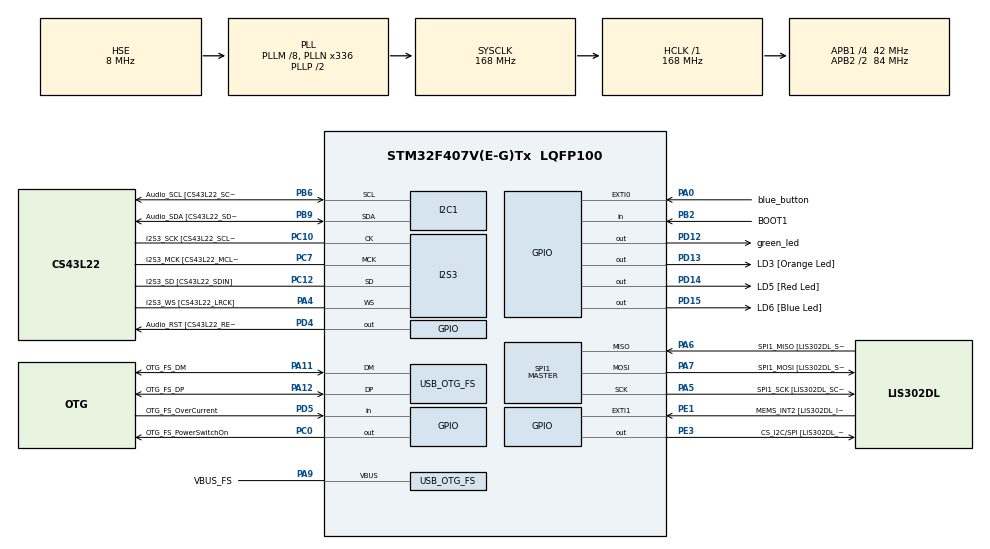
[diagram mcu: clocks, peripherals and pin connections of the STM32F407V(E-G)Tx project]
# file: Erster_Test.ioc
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FREERTOS.Queues01=logQueue,16,40,1,Dynamic,NULL,NULL
FREERTOS.Tasks01=defaultTask,24,128,StartDefaultTask,Default,NULL,Dynamic,NULL,NULL;task1ms,8,128,StartTask02,Default,NULL,Dynamic,NULL,NULL;task10ms,8,128,StartTask03,Default,NULL,Dynamic,NULL,NULL;producer01,8,128,producer01task,Default,NULL,Dynamic,NULL,NULL;consumer01,8,128,consumer01task,Default,NULL,Dynamic,NULL,NULL;producer02,8,128,producer02task,Default,NULL,Dynamic,NULL,NULL;producer03,8,128,producer03task,Default,NULL,Dynamic,NULL,NULL
FREERTOS.Timers01=oneMs,oneMsFunc,osTimerPeriodic,Default,NULL,Dynamic,NULL
I2S3.AudioFreq-Half_Duplex_Master=I2S_AUDIOFREQ_96K
I2S3.ErrorAudioFreq=-2.34 %
I2S3.ErrorAudioFreq-Half_Duplex_Master=0.8 %
I2S3.FullDuplexMode=I2S_FULLDUPLEXMODE_DISABLE
I2S3.Instance=SPI$Index
I2S3.RealAudioFreq=93.75 KHz
I2S3.RealAudioFreq-Half_Duplex_Master=96.774 KHz
I2S3.VirtualMode=I2S_MODE_MASTER
Mcu.Family=STM32F4
Mcu.Name=STM32F407V(E-G)Tx
Mcu.Package=LQFP100
NVIC.OTG_FS_IRQn=true\:5\:0\:false\:false\:true\:true\:true\:true\:true
NVIC.PriorityGroup=NVIC_PRIORITYGROUP_4
PA0-WKUP.GPIO_Label=blue_button
PA0-WKUP.GPIO_ModeDefaultEXTI=GPIO_MODE_EVT_RISING
PA0-WKUP.GPIO_PuPd=GPIO_NOPULL
PA0-WKUP.Signal=GPXTI0
PA10.GPIO_Label=OTG_FS_ID
PA10.GPIO_Mode=GPIO_MODE_AF_PP
PA10.GPIO_PuPd=GPIO_NOPULL
PA10.GPIO_Speed=GPIO_SPEED_FREQ_LOW
PA10.Signal=USB_OTG_FS_ID
PA11.GPIO_Label=OTG_FS_DM
PA11.GPIO_Mode=GPIO_MODE_AF_PP
PA11.GPIO_PuPd=GPIO_NOPULL
PA11.GPIO_Speed=GPIO_SPEED_FREQ_LOW
PA11.Mode=Host_Only
PA11.Signal=USB_OTG_FS_DM
PA12.GPIO_Label=OTG_FS_DP
PA12.GPIO_Mode=GPIO_MODE_AF_PP
PA12.GPIO_PuPd=GPIO_NOPULL
PA12.GPIO_Speed=GPIO_SPEED_FREQ_LOW
PA12.Mode=Host_Only
PA12.Signal=USB_OTG_FS_DP
PA13.GPIO_Label=SWDIO
PA13.Mode=Serial_Wire
PA13.Signal=SYS_JTMS-SWDIO
PA14.GPIO_Label=SWCLK
PA14.Mode=Serial_Wire
PA14.Signal=SYS_JTCK-SWCLK
PA4.GPIO_Label=I2S3_WS [CS43L22_LRCK]
PA4.GPIO_Mode=GPIO_MODE_AF_PP
PA4.GPIO_PuPd=GPIO_NOPULL
PA4.GPIO_Speed=GPIO_SPEED_FREQ_LOW
PA4.Mode=Half_Duplex_Master
PA4.Signal=I2S3_WS
PA5.GPIO_Label=SPI1_SCK [LIS302DL_SCL/SPC]
PA5.GPIO_Mode=GPIO_MODE_AF_PP
PA5.GPIO_PuPd=GPIO_NOPULL
PA5.GPIO_Speed=GPIO_SPEED_FREQ_LOW
PA5.Mode=Full_Duplex_Master
PA5.Signal=SPI1_SCK
PA6.GPIO_Label=SPI1_MISO [LIS302DL_SDO]
PA6.GPIO_Mode=GPIO_MODE_AF_PP
PA6.GPIO_PuPd=GPIO_NOPULL
PA6.GPIO_Speed=GPIO_SPEED_FREQ_LOW
PA6.Mode=Full_Duplex_Master
PA6.Signal=SPI1_MISO
PA7.GPIO_Label=SPI1_MOSI [LIS302DL_SDA/SDI/SDO]
PA7.GPIO_Mode=GPIO_MODE_AF_PP
PA7.GPIO_PuPd=GPIO_NOPULL
PA7.GPIO_Speed=GPIO_SPEED_FREQ_LOW
PA7.Mode=Full_Duplex_Master
PA7.Signal=SPI1_MOSI
PA9.GPIO_Label=VBUS_FS
PA9.GPIO_Mode=GPIO_MODE_INPUT
PA9.GPIO_PuPd=GPIO_NOPULL
PA9.Mode=Activate_VBUS
PA9.Signal=USB_OTG_FS_VBUS
PB10.GPIO_Label=CLK_IN [MP45DT02_CLK]
PB10.GPIO_Mode=GPIO_MODE_AF_PP
PB10.GPIO_PuPd=GPIO_NOPULL
PB10.GPIO_Speed=GPIO_SPEED_FREQ_LOW
PB10.Signal=I2S2_CK
PB2.GPIO_Label=BOOT1
PB2.GPIO_Mode=GPIO_MODE_INPUT
PB2.GPIO_PuPd=GPIO_NOPULL
PB2.Signal=GPIO_Input
PB3.GPIO_Label=SWO
PB3.Signal=SYS_JTDO-SWO
PB6.GPIO_Label=Audio_SCL [CS43L22_SCL]
PB6.GPIO_Mode=GPIO_MODE_AF_OD
PB6.GPIO_Pu=GPIO_PULLUP
PB6.GPIO_PuPd=GPIO_NOPULL
PB6.GPIO_Speed=GPIO_SPEED_FREQ_LOW
PB6.Mode=I2C
PB6.Signal=I2C1_SCL
PB9.GPIO_Label=Audio_SDA [CS43L22_SDA]
PB9.GPIO_Mode=GPIO_MODE_AF_OD
PB9.GPIO_Pu=GPIO_PULLUP
PB9.GPIO_PuPd=GPIO_NOPULL
PB9.GPIO_Speed=GPIO_SPEED_FREQ_LOW
PB9.Mode=I2C
PB9.Signal=I2C1_SDA
PC0.GPIO_Label=OTG_FS_PowerSwitchOn
PC0.GPIO_PuPd=GPIO_NOPULL
PC0.GPIO_Speed=GPIO_SPEED_FREQ_LOW
PC0.PinState=GPIO_PIN_SET
PC0.Signal=GPIO_Output
PC10.GPIO_Label=I2S3_SCK [CS43L22_SCLK]
PC10.GPIO_Mode=GPIO_MODE_AF_PP
PC10.GPIO_PuPd=GPIO_NOPULL
PC10.GPIO_Speed=GPIO_SPEED_FREQ_LOW
PC10.Mode=Half_Duplex_Master
PC10.Signal=I2S3_CK
PC12.GPIO_Label=I2S3_SD [CS43L22_SDIN]
PC12.GPIO_Mode=GPIO_MODE_AF_PP
PC12.GPIO_PuPd=GPIO_NOPULL
PC12.GPIO_Speed=GPIO_SPEED_FREQ_LOW
PC12.Mode=Half_Duplex_Master
PC12.Signal=I2S3_SD
PC14-OSC32_IN.GPIO_Label=PC14-OSC32_IN
PC14-OSC32_IN.Mode=LSE-External-Oscillator
PC14-OSC32_IN.Signal=RCC_OSC32_IN
PC15-OSC32_OUT.GPIO_Label=PC15-OSC32_OUT
PC15-OSC32_OUT.Mode=LSE-External-Oscillator
PC15-OSC32_OUT.Signal=RCC_OSC32_OUT
PC3.GPIO_Label=PDM_OUT [MP45DT02_DOUT]
PC3.GPIO_Mode=GPIO_MODE_AF_PP
PC3.GPIO_PuPd=GPIO_NOPULL
PC3.GPIO_Speed=GPIO_SPEED_FREQ_LOW
PC3.Signal=I2S2_SD
PC7.GPIO_Label=I2S3_MCK [CS43L22_MCLK]
PC7.GPIO_Mode=GPIO_MODE_AF_PP
PC7.GPIO_PuPd=GPIO_NOPULL
PC7.GPIO_Speed=GPIO_SPEED_FREQ_LOW
PC7.Mode=Master_Clock_Activated
PC7.Signal=I2S3_MCK
PD12.GPIO_Label=green_led
PD12.GPIO_PuPd=GPIO_NOPULL
PD12.GPIO_Speed=GPIO_SPEED_FREQ_LOW
PD12.Signal=GPIO_Output
PD13.GPIO_Label=LD3 [Orange Led]
PD13.GPIO_PuPd=GPIO_NOPULL
PD13.GPIO_Speed=GPIO_SPEED_FREQ_LOW
PD13.Signal=GPIO_Output
PD14.GPIO_Label=LD5 [Red Led]
PD14.GPIO_PuPd=GPIO_NOPULL
PD14.GPIO_Speed=GPIO_SPEED_FREQ_LOW
PD14.Signal=GPIO_Output
PD15.GPIO_Label=LD6 [Blue Led]
PD15.GPIO_PuPd=GPIO_NOPULL
PD15.GPIO_Speed=GPIO_SPEED_FREQ_LOW
PD15.Signal=GPIO_Output
PD4.GPIO_Label=Audio_RST [CS43L22_RESET]
PD4.GPIO_PuPd=GPIO_NOPULL
PD4.GPIO_Speed=GPIO_SPEED_FREQ_LOW
PD4.Signal=GPIO_Output
PD5.GPIO_Label=OTG_FS_OverCurrent
PD5.GPIO_Mode=GPIO_MODE_INPUT
PD5.GPIO_PuPd=GPIO_NOPULL
PD5.Signal=GPIO_Input
PE1.GPIO_Label=MEMS_INT2 [LIS302DL_INT2]
PE1.GPIO_ModeDefaultEXTI=GPIO_MODE_EVT_RISING
PE1.GPIO_PuPd=GPIO_NOPULL
PE1.Signal=GPXTI1
PE3.GPIO_Label=CS_I2C/SPI [LIS302DL_CS_I2C/SPI]
PE3.GPIO_PuPd=GPIO_NOPULL
PE3.GPIO_Speed=GPIO_SPEED_FREQ_LOW
PE3.Signal=GPIO_Output
PH0-OSC_IN.GPIO_Label=PH0-OSC_IN
PH0-OSC_IN.Mode=HSE-External-Oscillator
PH0-OSC_IN.Signal=RCC_OSC_IN
PH1-OSC_OUT.GPIO_Label=PH1-OSC_OUT
PH1-OSC_OUT.Mode=HSE-External-Oscillator
PH1-OSC_OUT.Signal=RCC_OSC_OUT
ProjectManager.HeapSize=0x200
ProjectManager.StackSize=0x400
ProjectManager.TargetToolchain=STM32CubeIDE
RCC.48MHZClocksFreq_Value=48000000
RCC.AHBFreq_Value=168000000
RCC.APB1CLKDivider=RCC_HCLK_DIV4
RCC.APB1Freq_Value=42000000
RCC.APB1TimFreq_Value=84000000
RCC.APB2CLKDivider=RCC_HCLK_DIV2
RCC.APB2Freq_Value=84000000
RCC.APB2TimFreq_Value=168000000
RCC.CortexFreq_Value=168000000
RCC.HCLKFreq_Value=168000000
RCC.HSE_VALUE=8000000
RCC.HSI_VALUE=16000000
RCC.PLLM=8
RCC.PLLN=336
RCC.PLLQ=7
RCC.SYSCLKFreq_VALUE=168000000
RCC.SYSCLKSource=RCC_SYSCLKSOURCE_PLLCLK
RCC.VCOOutputFreq_Value=336000000
SPI1.BaudRatePrescaler-Full_Duplex_Master=SPI_BAUDRATEPRESCALER_2
SPI1.CalculateBaudRate-Full_Duplex_Master=42.0 MBits/s
SPI1.Direction=SPI_DIRECTION_2LINES
SPI1.Mode=SPI_MODE_MASTER
SPI1.Mode-Full_Duplex_Master=SPI_MODE_MASTER
SPI1.VirtualType=VM_MASTER
TIM7.AutoReloadPreload=TIM_AUTORELOAD_PRELOAD_DISABLE
TIM7.Period=999
TIM7.Prescaler=84
USB_HOST.BSP.number=1
USB_HOST.USBH_HandleTypeDef-CDC_FS=hUsbHostFS
USB_HOST.VirtualModeFS=Cdc
USB_HOST0.BSP.STBoard=false
USB_HOST0.BSP.api=Unknown
USB_HOST0.BSP.instance=PC0
USB_HOST0.BSP.ip=GPIO
USB_HOST0.BSP.mode=Output
USB_HOST0.BSP.name=Drive_VBUS_FS
USB_HOST0.BSP.solution=PC0
USB_OTG_FS.VirtualMode=Host_Only
USB_OTG_FS.phy_itface=HCD_PHY_EMBEDDED
VP_FREERTOS_VS_CMSIS_V2.Mode=CMSIS_V2
VP_TIM7_VS_ClockSourceINT.Mode=Enable_Timer
VP_USB_HOST_VS_USB_HOST_CDC_FS.Mode=CDC_FS
board=STM32F407G-DISC1

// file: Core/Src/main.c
/* USER CODE BEGIN Header */
/**
  ******************************************************************************
  * @file           : main.c
  * @brief          : Main program body
  ******************************************************************************
  * @attention
  *
  * Copyright (c) 2022 STMicroelectronics.
  * All rights reserved.
  *
  * This software is licensed under terms that can be found in the LICENSE file
  * in the root directory of this software component.
  * If no LICENSE file comes with this software, it is provided AS-IS.
  *
  ******************************************************************************
  */
/* USER CODE END Header */
#include "main.h"
#include "cmsis_os.h"
#include "usb_host.h"

/* USER CODE BEGIN Includes */
#include <stdio.h>
#include "display.h"

/* USER CODE END Includes */

I2C_HandleTypeDef hi2c1;

I2S_HandleTypeDef hi2s3;

SPI_HandleTypeDef hspi1;

TIM_HandleTypeDef htim7;

/* Definitions for defaultTask */
osThreadId_t defaultTaskHandle;
const osThreadAttr_t defaultTask_attributes = {
  .name = "defaultTask",
  .stack_size = 128 * 4,
  .priority = (osPriority_t) osPriorityNormal,
};
/* Definitions for task1ms */
osThreadId_t task1msHandle;
const osThreadAttr_t task1ms_attributes = {
  .name = "task1ms",
  .stack_size = 128 * 4,
  .priority = (osPriority_t) osPriorityLow,
};
/* Definitions for task10ms */
osThreadId_t task10msHandle;
const osThreadAttr_t task10ms_attributes = {
  .name = "task10ms",
  .stack_size = 128 * 4,
  .priority = (osPriority_t) osPriorityLow,
};
/* Definitions for producer01 */
osThreadId_t producer01Handle;
const osThreadAttr_t producer01_attributes = {
  .name = "producer01",
  .stack_size = 128 * 4,
  .priority = (osPriority_t) osPriorityLow,
};
/* Definitions for consumer01 */
osThreadId_t consumer01Handle;
const osThreadAttr_t consumer01_attributes = {
  .name = "consumer01",
  .stack_size = 128 * 4,
  .priority = (osPriority_t) osPriorityLow,
};
/* Definitions for producer02 */
osThreadId_t producer02Handle;
const osThreadAttr_t producer02_attributes = {
  .name = "producer02",
  .stack_size = 128 * 4,
  .priority = (osPriority_t) osPriorityLow,
};
/* Definitions for producer03 */
osThreadId_t producer03Handle;
const osThreadAttr_t producer03_attributes = {
  .name = "producer03",
  .stack_size = 128 * 4,
  .priority = (osPriority_t) osPriorityLow,
};
/* Definitions for logQueue */
osMessageQueueId_t logQueueHandle;
const osMessageQueueAttr_t logQueue_attributes = {
  .name = "logQueue"
};
/* Definitions for oneMs */
osTimerId_t oneMsHandle;
const osTimerAttr_t oneMs_attributes = {
  .name = "oneMs"
};
/* USER CODE BEGIN PV */
//QueueHandle_t logQueueHandle;
/* USER CODE END PV */

void SystemClock_Config(void);
static void MX_GPIO_Init(void);
static void MX_I2C1_Init(void);
static void MX_I2S3_Init(void);
static void MX_SPI1_Init(void);
static void MX_TIM7_Init(void);
void StartDefaultTask(void *argument);
void StartTask02(void *argument);
void StartTask03(void *argument);
void producer01task(void *argument);
void consumer01task(void *argument);
void producer02task(void *argument);
void producer03task(void *argument);
void oneMsFunc(void *argument);

int main(void)
{

  /* MCU Configuration--------------------------------------------------------*/

  /* Reset of all peripherals, Initializes the Flash interface and the Systick. */
  HAL_Init();

  /* Configure the system clock */
  SystemClock_Config();

  /* Initialize all configured peripherals */
  MX_GPIO_Init();
  MX_I2C1_Init();
  MX_I2S3_Init();
  MX_SPI1_Init();
  MX_TIM7_Init();
  /* USER CODE BEGIN 2 */

	// Peripheral GPIOD einschalten
	RCC->AHB1ENR |= 1<<3|1;
	// Peripheral GPIOE einschalten
	RCC->AHB1ENR |= 1<<4|1;

	// GPIO einrichten für Output
	GPIOD->MODER |= 0x55154545;
	GPIOE->MODER |= 0x55554040;

	// Orange LED konfigurieren
	GPIOD->MODER |= 1<<24;

	// Gruene LED (Port D12) ausschalten
	GPIOD->ODR &= ~(1<<12);

	//Read auf 1
	GPIOD->MODER 	|= 1<<8;
	GPIOD->ODR		|= 1<<4;

	// Hintergrundbeleuchtung
	GPIOD->MODER |= 1<<26;
	GPIOD->ODR |= 1<<13;

  /* USER CODE END 2 */

  /* Init scheduler */
  osKernelInitialize();

  /* Create the timer(s) */
  /* creation of oneMs */
  oneMsHandle = osTimerNew(oneMsFunc, osTimerPeriodic, NULL, &oneMs_attributes);

  /* Create the queue(s) */
  /* creation of logQueue */
  logQueueHandle = osMessageQueueNew (16, 40, &logQueue_attributes);

  /* USER CODE BEGIN RTOS_QUEUES */
  /* add queues, ... */
  //Handle = xQueueCreate(16,sizeof(uint32_t));
  /* USER CODE END RTOS_QUEUES */

  /* Create the thread(s) */
  /* creation of defaultTask */
  defaultTaskHandle = osThreadNew(StartDefaultTask, NULL, &defaultTask_attributes);

  /* creation of task1ms */
  task1msHandle = osThreadNew(StartTask02, NULL, &task1ms_attributes);

  /* creation of task10ms */
  task10msHandle = osThreadNew(StartTask03, NULL, &task10ms_attributes);

  /* creation of producer01 */
  producer01Handle = osThreadNew(producer01task, NULL, &producer01_attributes);

  /* creation of consumer01 */
  consumer01Handle = osThreadNew(consumer01task, NULL, &consumer01_attributes);

  /* creation of producer02 */
  producer02Handle = osThreadNew(producer02task, NULL, &producer02_attributes);

  /* creation of producer03 */
  producer03Handle = osThreadNew(producer03task, NULL, &producer03_attributes);

  /* USER CODE BEGIN RTOS_EVENTS */
  /* add events, ... */
  osTimerStart(oneMsHandle,pdMS_TO_TICKS(125));
  LCD_Init();
  LCD_ClearDisplay(0xFFFF);

  /* USER CODE END RTOS_EVENTS */

  /* Start scheduler */
  osKernelStart();

  /* We should never get here as control is now taken by the scheduler */
  /* Infinite loop */
  /* USER CODE BEGIN WHILE */
  //xTimerCreate("oneMsTimer", pdMS_TO_TICKS(1), pdTRUE, 0, prvOneMsTimer); /////////////////////////

  while (1)
  {
    /* USER CODE END WHILE */

  }
}

void SystemClock_Config(void)
{
  RCC_OscInitTypeDef RCC_OscInitStruct = {0};
  RCC_ClkInitTypeDef RCC_ClkInitStruct = {0};

  /** Configure the main internal regulator output voltage
  */
  __HAL_RCC_PWR_CLK_ENABLE();
  __HAL_PWR_VOLTAGESCALING_CONFIG(PWR_REGULATOR_VOLTAGE_SCALE1);

  /** Initializes the RCC Oscillators according to the specified parameters
  * in the RCC_OscInitTypeDef structure.
  */
  RCC_OscInitStruct.OscillatorType = RCC_OSCILLATORTYPE_HSE;
  RCC_OscInitStruct.HSEState = RCC_HSE_ON;
  RCC_OscInitStruct.PLL.PLLState = RCC_PLL_ON;
  RCC_OscInitStruct.PLL.PLLSource = RCC_PLLSOURCE_HSE;
  RCC_OscInitStruct.PLL.PLLM = 8;
  RCC_OscInitStruct.PLL.PLLN = 336;
  RCC_OscInitStruct.PLL.PLLP = RCC_PLLP_DIV2;
  RCC_OscInitStruct.PLL.PLLQ = 7;
  if (HAL_RCC_OscConfig(&RCC_OscInitStruct) != HAL_OK)
  {
    Error_Handler();
  }

  /** Initializes the CPU, AHB and APB buses clocks
  */
  RCC_ClkInitStruct.ClockType = RCC_CLOCKTYPE_HCLK|RCC_CLOCKTYPE_SYSCLK
                              |RCC_CLOCKTYPE_PCLK1|RCC_CLOCKTYPE_PCLK2;
  RCC_ClkInitStruct.SYSCLKSource = RCC_SYSCLKSOURCE_PLLCLK;
  RCC_ClkInitStruct.AHBCLKDivider = RCC_SYSCLK_DIV1;
  RCC_ClkInitStruct.APB1CLKDivider = RCC_HCLK_DIV4;
  RCC_ClkInitStruct.APB2CLKDivider = RCC_HCLK_DIV2;

  if (HAL_RCC_ClockConfig(&RCC_ClkInitStruct, FLASH_LATENCY_5) != HAL_OK)
  {
    Error_Handler();
  }
}

static void MX_I2C1_Init(void)
{

  hi2c1.Instance = I2C1;
  hi2c1.Init.ClockSpeed = 100000;
  hi2c1.Init.DutyCycle = I2C_DUTYCYCLE_2;
  hi2c1.Init.OwnAddress1 = 0;
  hi2c1.Init.AddressingMode = I2C_ADDRESSINGMODE_7BIT;
  hi2c1.Init.DualAddressMode = I2C_DUALADDRESS_DISABLE;
  hi2c1.Init.OwnAddress2 = 0;
  hi2c1.Init.GeneralCallMode = I2C_GENERALCALL_DISABLE;
  hi2c1.Init.NoStretchMode = I2C_NOSTRETCH_DISABLE;
  if (HAL_I2C_Init(&hi2c1) != HAL_OK)
  {
    Error_Handler();
  }

}

static void MX_I2S3_Init(void)
{

  hi2s3.Instance = SPI3;
  hi2s3.Init.Mode = I2S_MODE_MASTER_TX;
  hi2s3.Init.Standard = I2S_STANDARD_PHILIPS;
  hi2s3.Init.DataFormat = I2S_DATAFORMAT_16B;
  hi2s3.Init.MCLKOutput = I2S_MCLKOUTPUT_ENABLE;
  hi2s3.Init.AudioFreq = I2S_AUDIOFREQ_96K;
  hi2s3.Init.CPOL = I2S_CPOL_LOW;
  hi2s3.Init.ClockSource = I2S_CLOCK_PLL;
  hi2s3.Init.FullDuplexMode = I2S_FULLDUPLEXMODE_DISABLE;
  if (HAL_I2S_Init(&hi2s3) != HAL_OK)
  {
    Error_Handler();
  }

}

static void MX_SPI1_Init(void)
{

  /* SPI1 parameter configuration*/
  hspi1.Instance = SPI1;
  hspi1.Init.Mode = SPI_MODE_MASTER;
  hspi1.Init.Direction = SPI_DIRECTION_2LINES;
  hspi1.Init.DataSize = SPI_DATASIZE_8BIT;
  hspi1.Init.CLKPolarity = SPI_POLARITY_LOW;
  hspi1.Init.CLKPhase = SPI_PHASE_1EDGE;
  hspi1.Init.NSS = SPI_NSS_SOFT;
  hspi1.Init.BaudRatePrescaler = SPI_BAUDRATEPRESCALER_2;
  hspi1.Init.FirstBit = SPI_FIRSTBIT_MSB;
  hspi1.Init.TIMode = SPI_TIMODE_DISABLE;
  hspi1.Init.CRCCalculation = SPI_CRCCALCULATION_DISABLE;
  hspi1.Init.CRCPolynomial = 10;
  if (HAL_SPI_Init(&hspi1) != HAL_OK)
  {
    Error_Handler();
  }

}

static void MX_TIM7_Init(void)
{

  TIM_MasterConfigTypeDef sMasterConfig = {0};

  htim7.Instance = TIM7;
  htim7.Init.Prescaler = 84;
  htim7.Init.CounterMode = TIM_COUNTERMODE_UP;
  htim7.Init.Period = 999;
  htim7.Init.AutoReloadPreload = TIM_AUTORELOAD_PRELOAD_DISABLE;
  if (HAL_TIM_Base_Init(&htim7) != HAL_OK)
  {
    Error_Handler();
  }
  sMasterConfig.MasterOutputTrigger = TIM_TRGO_RESET;
  sMasterConfig.MasterSlaveMode = TIM_MASTERSLAVEMODE_DISABLE;
  if (HAL_TIMEx_MasterConfigSynchronization(&htim7, &sMasterConfig) != HAL_OK)
  {
    Error_Handler();
  }

}

static void MX_GPIO_Init(void)
{
  GPIO_InitTypeDef GPIO_InitStruct = {0};

  /* GPIO Ports Clock Enable */
  __HAL_RCC_GPIOE_CLK_ENABLE();
  __HAL_RCC_GPIOC_CLK_ENABLE();
  __HAL_RCC_GPIOH_CLK_ENABLE();
  __HAL_RCC_GPIOA_CLK_ENABLE();
  __HAL_RCC_GPIOB_CLK_ENABLE();
  __HAL_RCC_GPIOD_CLK_ENABLE();

  /*Configure GPIO pin Output Level */
  HAL_GPIO_WritePin(CS_I2C_SPI_GPIO_Port, CS_I2C_SPI_Pin, GPIO_PIN_RESET);

  /*Configure GPIO pin Output Level */
  HAL_GPIO_WritePin(OTG_FS_PowerSwitchOn_GPIO_Port, OTG_FS_PowerSwitchOn_Pin, GPIO_PIN_SET);

  /*Configure GPIO pin Output Level */
  HAL_GPIO_WritePin(GPIOD, green_led_Pin|LD3_Pin|LD5_Pin|LD6_Pin
                          |Audio_RST_Pin, GPIO_PIN_RESET);

  /*Configure GPIO pin : CS_I2C_SPI_Pin */
  GPIO_InitStruct.Pin = CS_I2C_SPI_Pin;
  GPIO_InitStruct.Mode = GPIO_MODE_OUTPUT_PP;
  GPIO_InitStruct.Pull = GPIO_NOPULL;
  GPIO_InitStruct.Speed = GPIO_SPEED_FREQ_LOW;
  HAL_GPIO_Init(CS_I2C_SPI_GPIO_Port, &GPIO_InitStruct);

  /*Configure GPIO pin : OTG_FS_PowerSwitchOn_Pin */
  GPIO_InitStruct.Pin = OTG_FS_PowerSwitchOn_Pin;
  GPIO_InitStruct.Mode = GPIO_MODE_OUTPUT_PP;
  GPIO_InitStruct.Pull = GPIO_NOPULL;
  GPIO_InitStruct.Speed = GPIO_SPEED_FREQ_LOW;
  HAL_GPIO_Init(OTG_FS_PowerSwitchOn_GPIO_Port, &GPIO_InitStruct);

  /*Configure GPIO pin : PDM_OUT_Pin */
  GPIO_InitStruct.Pin = PDM_OUT_Pin;
  GPIO_InitStruct.Mode = GPIO_MODE_AF_PP;
  GPIO_InitStruct.Pull = GPIO_NOPULL;
  GPIO_InitStruct.Speed = GPIO_SPEED_FREQ_LOW;
  GPIO_InitStruct.Alternate = GPIO_AF5_SPI2;
  HAL_GPIO_Init(PDM_OUT_GPIO_Port, &GPIO_InitStruct);

  /*Configure GPIO pin : blue_button_Pin */
  GPIO_InitStruct.Pin = blue_button_Pin;
  GPIO_InitStruct.Mode = GPIO_MODE_EVT_RISING;
  GPIO_InitStruct.Pull = GPIO_NOPULL;
  HAL_GPIO_Init(blue_button_GPIO_Port, &GPIO_InitStruct);

  /*Configure GPIO pin : BOOT1_Pin */
  GPIO_InitStruct.Pin = BOOT1_Pin;
  GPIO_InitStruct.Mode = GPIO_MODE_INPUT;
  GPIO_InitStruct.Pull = GPIO_NOPULL;
  HAL_GPIO_Init(BOOT1_GPIO_Port, &GPIO_InitStruct);

  /*Configure GPIO pin : CLK_IN_Pin */
  GPIO_InitStruct.Pin = CLK_IN_Pin;
  GPIO_InitStruct.Mode = GPIO_MODE_AF_PP;
  GPIO_InitStruct.Pull = GPIO_NOPULL;
  GPIO_InitStruct.Speed = GPIO_SPEED_FREQ_LOW;
  GPIO_InitStruct.Alternate = GPIO_AF5_SPI2;
  HAL_GPIO_Init(CLK_IN_GPIO_Port, &GPIO_InitStruct);

  /*Configure GPIO pins : green_led_Pin LD3_Pin LD5_Pin LD6_Pin
                           Audio_RST_Pin */
  GPIO_InitStruct.Pin = green_led_Pin|LD3_Pin|LD5_Pin|LD6_Pin
                          |Audio_RST_Pin;
  GPIO_InitStruct.Mode = GPIO_MODE_OUTPUT_PP;
  GPIO_InitStruct.Pull = GPIO_NOPULL;
  GPIO_InitStruct.Speed = GPIO_SPEED_FREQ_LOW;
  HAL_GPIO_Init(GPIOD, &GPIO_InitStruct);

  /*Configure GPIO pin : OTG_FS_OverCurrent_Pin */
  GPIO_InitStruct.Pin = OTG_FS_OverCurrent_Pin;
  GPIO_InitStruct.Mode = GPIO_MODE_INPUT;
  GPIO_InitStruct.Pull = GPIO_NOPULL;
  HAL_GPIO_Init(OTG_FS_OverCurrent_GPIO_Port, &GPIO_InitStruct);

  /*Configure GPIO pin : MEMS_INT2_Pin */
  GPIO_InitStruct.Pin = MEMS_INT2_Pin;
  GPIO_InitStruct.Mode = GPIO_MODE_EVT_RISING;
  GPIO_InitStruct.Pull = GPIO_NOPULL;
  HAL_GPIO_Init(MEMS_INT2_GPIO_Port, &GPIO_InitStruct);

}

void StartDefaultTask(void *argument)
{
  /* init code for USB_HOST */
  MX_USB_HOST_Init();
  /* USER CODE BEGIN 5 */

  /* Infinite loop */
  for(;;)
  {
	if(HAL_GPIO_ReadPin(GPIOA,GPIO_PIN_0)){
		HAL_GPIO_WritePin(GPIOD,GPIO_PIN_12,GPIO_PIN_SET);
		osDelay(500);
		HAL_GPIO_TogglePin(GPIOD,GPIO_PIN_12);
		osDelay(500);
	}
	HAL_GPIO_WritePin(GPIOD,GPIO_PIN_12,GPIO_PIN_RESET);

    osDelay(1);
  }
  /* USER CODE END 5 */
}

void StartTask02(void *argument)
{
  for(;;)
  {
    osDelay(1);
  }
}

void StartTask03(void *argument)
{
  for(;;)
  {
    osDelay(1);
  }
}

/* USER CODE BEGIN Header_producer01task */
/**
* @brief Sends the current uptime in Seconds to the Log Queue.
* @param argument: Not used
* @retval None
*/
/* USER CODE END Header_producer01task */
void producer01task(void *argument)
{
  /* USER CODE BEGIN producer01task */
  int nr = 1;
  /* Infinite loop */
  for(;;)
  {
	  char message[40] = "";
	  sprintf(message,"Uptime %ds",nr);
	  nr++;
	  //xQueueSendToFront(logQueueHandle,&message);
	  //osMessagePut(logQueueHandle,(uint32_t)message,osWaitForever);
	  osMessageQueuePut(logQueueHandle, &message, 0U, 0U);
	  osDelay(1000);
  }
  /* USER CODE END producer01task */
}

/* USER CODE BEGIN Header_consumer01task */
/**
* @brief Waits for an entry in the Log Queue and prints it to the LCD Display
* @param argument: Not used
* @retval None
*/
/* USER CODE END Header_consumer01task */
void consumer01task(void *argument)
{
  /* USER CODE BEGIN consumer01task */
  uint16_t currentLine = 0;
	LCD_WriteString(0, 5, 0, 0xFFFF, "Log Messages:");
	char message[40] = "";
  /* Infinite loop */
  for(;;)
  {
	  osMessageQueueGet(logQueueHandle, &message, NULL, osWaitForever);
    if(currentLine>=13){LCD_ClearDisplay(0xFFFF); currentLine = 0;LCD_WriteString(0, 5, 0, 0xFFFF, "Log Messages:");}
	  LCD_WriteString(5,21+currentLine*16, 0, 0xFFFF, message);
	  currentLine++;
  }
  /* USER CODE END consumer01task */
}

/* USER CODE BEGIN Header_producer02task */
/**
* @brief Checks whether Blue Button is Pressed or Released and sends a Pressed or Release Message to the Queue
* @param argument: Not used
* @retval None
*/
/* USER CODE END Header_producer02task */
void producer02task(void *argument)
{
  /* USER CODE BEGIN producer02task */
  // Log Message wenn Blauer Taster gedrückt wurde
  uint8_t pressed = 0;
  char message[40] = "";
  /* Infinite loop */
  for(;;)
  {
	  if(HAL_GPIO_ReadPin(GPIOA,GPIO_PIN_0) && pressed==0){
		  pressed = 1;
		  message[40] = "";
		  sprintf(message,"Blauer Taster gedrueckt");
		  osMessageQueuePut(logQueueHandle,&message,0U,0U);
	  }else if(HAL_GPIO_ReadPin(GPIOA,GPIO_PIN_0)==0 && pressed == 1){
		  pressed = 0;
		  message[40] = "";
		  sprintf(message,"Blauer Taster losgelassen");
		  osMessageQueuePut(logQueueHandle,&message,0U,0U);
	  }
	osDelay(100);
  }
  /* USER CODE END producer02task */
}

void producer03task(void *argument)
{
  for(;;)
  {
    osDelay(1);
  }
}

/* oneMsFunc function */
void oneMsFunc(void *argument)
{
  /* USER CODE BEGIN oneMsFunc */
//	static uint16_t counter = 0;
//	counter++;
//	if(counter < 125){
//		HAL_GPIO_WritePin(GPIOD,GPIO_PIN_13,GPIO_PIN_SET);
//	}else if(counter >= 125){
//		HAL_GPIO_WritePin(GPIOD,GPIO_PIN_13,GPIO_PIN_RESET);
//	}else if(counter >= 250){
//		counter = 0;
//	}

	HAL_GPIO_TogglePin(GPIOD,GPIO_PIN_15);

  /* USER CODE END oneMsFunc */
}

void Error_Handler(void)
{
  __disable_irq();
  while (1)
  {
  }
}
